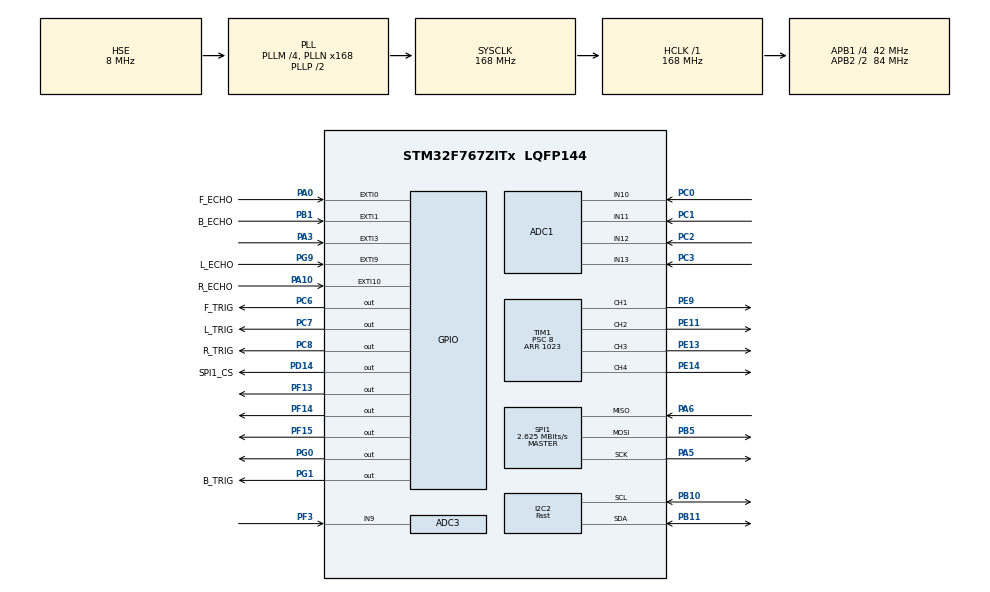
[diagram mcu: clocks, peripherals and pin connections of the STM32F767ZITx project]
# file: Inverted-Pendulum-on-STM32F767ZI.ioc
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ADC1.Channel-0\#ChannelRegularConversion=ADC_CHANNEL_10
ADC1.NbrOfConversionFlag=1
ADC1.Rank-0\#ChannelRegularConversion=1
ADC1.SamplingTime-0\#ChannelRegularConversion=ADC_SAMPLETIME_3CYCLES
ADC1.master=1
ADC3.Channel-0\#ChannelRegularConversion=ADC_CHANNEL_9
ADC3.ContinuousConvMode=DISABLE
ADC3.DMAContinuousRequests=DISABLE
ADC3.NbrOfConversion=1
ADC3.NbrOfConversionFlag=1
ADC3.Rank-0\#ChannelRegularConversion=1
ADC3.Resolution=ADC_RESOLUTION_12B
ADC3.SamplingTime-0\#ChannelRegularConversion=ADC_SAMPLETIME_3CYCLES
CORTEX_M7.default_mode_Activation=1
Dma.Request0=SPI1_TX
Dma.Request1=SPI1_RX
Dma.SPI1_RX.1.Direction=DMA_PERIPH_TO_MEMORY
Dma.SPI1_RX.1.FIFOMode=DMA_FIFOMODE_DISABLE
Dma.SPI1_RX.1.Instance=DMA2_Stream0
Dma.SPI1_RX.1.MemDataAlignment=DMA_MDATAALIGN_BYTE
Dma.SPI1_RX.1.MemInc=DMA_MINC_ENABLE
Dma.SPI1_RX.1.Mode=DMA_NORMAL
Dma.SPI1_RX.1.PeriphDataAlignment=DMA_PDATAALIGN_BYTE
Dma.SPI1_RX.1.PeriphInc=DMA_PINC_DISABLE
Dma.SPI1_RX.1.Priority=DMA_PRIORITY_MEDIUM
Dma.SPI1_TX.0.Direction=DMA_MEMORY_TO_PERIPH
Dma.SPI1_TX.0.FIFOMode=DMA_FIFOMODE_DISABLE
Dma.SPI1_TX.0.Instance=DMA2_Stream3
Dma.SPI1_TX.0.MemDataAlignment=DMA_MDATAALIGN_BYTE
Dma.SPI1_TX.0.MemInc=DMA_MINC_ENABLE
Dma.SPI1_TX.0.Mode=DMA_NORMAL
Dma.SPI1_TX.0.PeriphDataAlignment=DMA_PDATAALIGN_BYTE
Dma.SPI1_TX.0.PeriphInc=DMA_PINC_DISABLE
Dma.SPI1_TX.0.Priority=DMA_PRIORITY_MEDIUM
I2C2.I2C_Speed_Mode=I2C_Fast
I2C2.Timing=0x0040154A
Mcu.Family=STM32F7
Mcu.Name=STM32F767ZITx
Mcu.Package=LQFP144
NVIC.DMA2_Stream0_IRQn=true\:0\:0\:false\:false\:true\:false\:true\:true
NVIC.DMA2_Stream3_IRQn=true\:0\:0\:false\:false\:true\:false\:true\:true
NVIC.EXTI0_IRQn=true\:2\:0\:true\:false\:true\:true\:true\:true
NVIC.EXTI15_10_IRQn=true\:0\:0\:false\:false\:true\:true\:true\:true
NVIC.EXTI1_IRQn=true\:0\:0\:false\:false\:true\:true\:true\:true
NVIC.EXTI3_IRQn=true\:0\:0\:false\:false\:true\:true\:true\:true
NVIC.EXTI9_5_IRQn=true\:2\:0\:true\:false\:true\:true\:true\:true
NVIC.PriorityGroup=NVIC_PRIORITYGROUP_4
NVIC.SPI1_IRQn=true\:0\:0\:false\:false\:true\:true\:true\:true
PA0/WKUP.GPIO_Label=F_ECHO
PA0/WKUP.GPIO_ModeDefaultEXTI=GPIO_MODE_IT_RISING_FALLING
PA0/WKUP.GPIO_PuPd=GPIO_NOPULL
PA0/WKUP.Signal=GPXTI0
PA1.Signal=S_TIM5_CH2
PA10.GPIO_Label=R_ECHO
PA10.GPIO_ModeDefaultEXTI=GPIO_MODE_IT_RISING_FALLING
PA10.Signal=GPXTI10
PA13.GPIO_Label=TMS
PA13.Mode=Trace_Asynchronous_SW
PA13.Signal=SYS_JTMS-SWDIO
PA14.GPIO_Label=TCK
PA14.Mode=Trace_Asynchronous_SW
PA14.Signal=SYS_JTCK-SWCLK
PA3.GPIO_ModeDefaultEXTI=GPIO_MODE_IT_RISING_FALLING
PA3.Signal=GPXTI3
PA5.GPIO_Speed=GPIO_SPEED_FREQ_HIGH
PA5.Mode=Full_Duplex_Master
PA5.Signal=SPI1_SCK
PA6.GPIO_Speed=GPIO_SPEED_FREQ_HIGH
PA6.Mode=Full_Duplex_Master
PA6.Signal=SPI1_MISO
PB1.GPIO_Label=B_ECHO
PB1.GPIO_ModeDefaultEXTI=GPIO_MODE_IT_RISING_FALLING
PB1.Signal=GPXTI1
PB10.GPIO_Pu=GPIO_PULLUP
PB10.Mode=I2C
PB10.Signal=I2C2_SCL
PB11.GPIO_Pu=GPIO_PULLUP
PB11.Mode=I2C
PB11.Signal=I2C2_SDA
PB3.GPIO_Label=SWO
PB3.Mode=Trace_Asynchronous_SW
PB3.Signal=SYS_JTDO-SWO
PB5.GPIO_Speed=GPIO_SPEED_FREQ_HIGH
PB5.Mode=Full_Duplex_Master
PB5.Signal=SPI1_MOSI
PC0.Signal=ADCx_IN10
PC1.Signal=ADCx_IN11
PC14/OSC32_IN.Mode=LSE-External-Oscillator
PC14/OSC32_IN.Signal=RCC_OSC32_IN
PC15/OSC32_OUT.Mode=LSE-External-Oscillator
PC15/OSC32_OUT.Signal=RCC_OSC32_OUT
PC2.Signal=ADCx_IN12
PC3.Signal=ADCx_IN13
PC6.GPIO_Label=F_TRIG
PC6.GPIO_Speed=GPIO_SPEED_FREQ_HIGH
PC6.PinState=GPIO_PIN_RESET
PC6.Signal=GPIO_Output
PC7.GPIO_Label=L_TRIG
PC7.GPIO_Speed=GPIO_SPEED_FREQ_HIGH
PC7.PinState=GPIO_PIN_RESET
PC7.Signal=GPIO_Output
PC8.GPIO_Label=R_TRIG
PC8.GPIO_Speed=GPIO_SPEED_FREQ_HIGH
PC8.PinState=GPIO_PIN_RESET
PC8.Signal=GPIO_Output
PD14.GPIO_Label=SPI1_CS
PD14.GPIO_Speed=GPIO_SPEED_FREQ_HIGH
PD14.PinState=GPIO_PIN_SET
PD14.Signal=GPIO_Output
PE11.Signal=S_TIM1_CH2
PE13.Signal=S_TIM1_CH3
PE14.Signal=S_TIM1_CH4
PE9.Signal=S_TIM1_CH1
PF13.PinState=GPIO_PIN_SET
PF13.Signal=GPIO_Output
PF14.PinState=GPIO_PIN_SET
PF14.Signal=GPIO_Output
PF15.PinState=GPIO_PIN_SET
PF15.Signal=GPIO_Output
PF3.Mode=IN9
PF3.Signal=ADC3_IN9
PG0.PinState=GPIO_PIN_SET
PG0.Signal=GPIO_Output
PG1.GPIO_Label=B_TRIG
PG1.GPIO_Speed=GPIO_SPEED_FREQ_HIGH
PG1.Signal=GPIO_Output
PG9.GPIO_Label=L_ECHO
PG9.GPIO_ModeDefaultEXTI=GPIO_MODE_IT_RISING_FALLING
PG9.GPIO_PuPd=GPIO_NOPULL
PG9.Signal=GPXTI9
PH0/OSC_IN.GPIO_Label=MCO [STM32F103CBT6_PA8]
PH0/OSC_IN.Mode=HSE-External-Oscillator
PH0/OSC_IN.Signal=RCC_OSC_IN
PH1/OSC_OUT.Mode=HSE-External-Oscillator
PH1/OSC_OUT.Signal=RCC_OSC_OUT
ProjectManager.HeapSize=0x200
ProjectManager.StackSize=0x400
ProjectManager.TargetToolchain=STM32CubeIDE
RCC.48MHZClocksFreq_Value=24000000
RCC.AHBFreq_Value=168000000
RCC.APB1CLKDivider=RCC_HCLK_DIV4
RCC.APB1Freq_Value=42000000
RCC.APB1TimFreq_Value=84000000
RCC.APB2CLKDivider=RCC_HCLK_DIV2
RCC.APB2Freq_Value=84000000
RCC.APB2TimFreq_Value=168000000
RCC.CortexFreq_Value=168000000
RCC.HCLKFreq_Value=168000000
RCC.HSE_VALUE=8000000
RCC.HSI_VALUE=16000000
RCC.PLLM=4
RCC.PLLMUL=RCC_PLL_MUL9
RCC.PLLN=168
RCC.PLLQ=7
RCC.PLLSourceVirtual=RCC_PLLSOURCE_HSE
RCC.PRESCALERUSB=RCC_USBCLKSOURCE_PLL_DIV1_5
RCC.SYSCLKFreq_VALUE=168000000
RCC.SYSCLKSource=RCC_SYSCLKSOURCE_PLLCLK
RCC.SYSCLKSourceVirtual=RCC_SYSCLKSOURCE_PLLCLK
RCC.USBFreq_Value=48000000
RCC.VCOOutputFreq_Value=336000000
SH.ADCx_IN10.0=ADC1_IN10,IN10
SH.ADCx_IN11.0=ADC1_IN11,IN11
SH.ADCx_IN12.0=ADC1_IN12,IN12
SH.ADCx_IN13.0=ADC1_IN13,IN13
SH.S_TIM1_CH1.0=TIM1_CH1,PWM Generation1 CH1
SH.S_TIM1_CH2.0=TIM1_CH2,PWM Generation2 CH2
SH.S_TIM1_CH3.0=TIM1_CH3,PWM Generation3 CH3
SH.S_TIM1_CH4.0=TIM1_CH4,PWM Generation4 CH4
SH.S_TIM5_CH2.0=TIM5_CH2
SPI1.BaudRatePrescaler=SPI_BAUDRATEPRESCALER_32
SPI1.CalculateBaudRate=2.625 MBits/s
SPI1.DataSize=SPI_DATASIZE_8BIT
SPI1.Direction=SPI_DIRECTION_2LINES
SPI1.Mode=SPI_MODE_MASTER
SPI1.NSSPMode=SPI_NSS_PULSE_DISABLE
SPI1.VirtualType=VM_MASTER
TIM1.AutoReloadPreload=TIM_AUTORELOAD_PRELOAD_ENABLE
TIM1.Channel-PWM\ Generation1\ CH1=TIM_CHANNEL_1
TIM1.Channel-PWM\ Generation2\ CH2=TIM_CHANNEL_2
TIM1.Channel-PWM\ Generation3\ CH3=TIM_CHANNEL_3
TIM1.Channel-PWM\ Generation4\ CH4=TIM_CHANNEL_4
TIM1.Period=1023
TIM1.Prescaler=8
TIM14.AutoReloadPreload=TIM_AUTORELOAD_PRELOAD_ENABLE
TIM14.Period=60000-1
TIM14.Prescaler=83
TIM5.AutoReloadPreload=TIM_AUTORELOAD_PRELOAD_ENABLE
TIM5.Prescaler=83
VP_TIM14_VS_ClockSourceINT.Mode=Enable_Timer
VP_TIM1_VS_ClockSourceINT.Mode=Internal
VP_TIM5_VS_ClockSourceINT.Mode=Internal
board=NUCLEO-F767ZI

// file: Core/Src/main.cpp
/* USER CODE BEGIN Header */

/**

 ******************************************************************************

 * @file : main.c

 * @brief : Main program body

 ******************************************************************************

 * @attention

 *

 * Copyright (c) 2026 STMicroelectronics.

 * All rights reserved.

 *

 * This software is licensed under terms that can be found in the LICENSE file

 * in the root directory of this software component.

 * If no LICENSE file comes with this software, it is provided AS-IS.

 *

 ******************************************************************************

 */

/* USER CODE END Header */

#include "main.h"

/* USER CODE BEGIN Includes */

#include "peripherals.h"

#include <stdio.h>

#include "flash_storage.h"

#include <math.h>

#include "string.h"

#include "navigation.h"

/* USER CODE END Includes */

/* USER CODE BEGIN PD */

#define MAX_SPEED 1024 // max PWM

#define MIN_SPEED 0 // min PWM

#define PWM_DEADZONE 68 // PWM floor to break motor static friction

#define LOG_FLAG false // toggle debug logging

#if LOG_FLAG

// data logger, view in debugger expressions

#define LOG_SIZE 5000 // 5000 samples at 500Hz = 10s

#endif

/* USER CODE END PD */

ADC_HandleTypeDef hadc1;

ADC_HandleTypeDef hadc3;

I2C_HandleTypeDef hi2c2;

SPI_HandleTypeDef hspi1;

DMA_HandleTypeDef hdma_spi1_tx;

DMA_HandleTypeDef hdma_spi1_rx;

TIM_HandleTypeDef htim1;

TIM_HandleTypeDef htim5;

TIM_HandleTypeDef htim14;

/* USER CODE BEGIN PV */

static const float PI_OVER_180 = 3.14159265f / 180.0f;

static const float RAD_TO_DEG = 180.0f / 3.14159265f;

static const float PWM_SCALE = 200.0f;

#if LOG_FLAG

// data logger buffers

volatile float log_theta[LOG_SIZE];

volatile float log_effort[LOG_SIZE];

volatile uint16_t log_idx = 0;

volatile uint8_t log_done = 0; // set when robot has fallen and data is ready

#endif

volatile uint16_t adc_raw[1];

Potentiometer pot = {

 .dma_buffer = (uint16_t*)adc_raw,

 .center_value = 2048,

 .raw = 0,

 .deg_per_count = 270.0f / 4095.0f,

 .current_angle = 0.0f,

 .velocity = 0.0f

};

// Ultrasonic Sensors (PCB Pin Configurations)

Ultrasonic frontSensor = {

	.TriggerPort = F_TRIG_GPIO_Port, // PC6

	.EchoPort =	F_ECHO_GPIO_Port, // PA0

	.TriggerPin = F_TRIG_Pin,

	.EchoPin =	F_ECHO_Pin,

	.timer = &htim5

};

Ultrasonic backSensor = {

	.TriggerPort = B_TRIG_GPIO_Port, // PG1

	.EchoPort =	B_ECHO_GPIO_Port, // PB1

	.TriggerPin = B_TRIG_Pin,

	.EchoPin =	B_ECHO_Pin,

	.timer = &htim5

};

Ultrasonic leftSensor = {

	.TriggerPort = L_TRIG_GPIO_Port, // PC7

	.EchoPort =	L_ECHO_GPIO_Port, // PG9

	.TriggerPin = L_TRIG_Pin,

	.EchoPin =	L_ECHO_Pin,

	.timer = &htim5

};

Ultrasonic rightSensor = {

	.TriggerPort = R_TRIG_GPIO_Port, // PC8

	.EchoPort =	R_ECHO_GPIO_Port, // PA10

	.TriggerPin = R_TRIG_Pin,

	.EchoPin =	R_ECHO_Pin,

	.timer = &htim5

};

// motors, diagonal mapping

Motor FRM = { .PWM = &TIM1->CCR1, .directionPort = GPIOF, .directionPin = GPIO_PIN_13 };

Motor FLM = { .PWM = &TIM1->CCR2, .directionPort = GPIOF, .directionPin = GPIO_PIN_14 };

Motor BRM = { .PWM = &TIM1->CCR3, .directionPort = GPIOF, .directionPin = GPIO_PIN_15 };

Motor BLM = { .PWM = &TIM1->CCR4, .directionPort = GPIOG, .directionPin = GPIO_PIN_0 };

static TelemetryPacket tx_packet;

static CommandPacket rx_packet;

static uint8_t spi_rx_raw_buffer[sizeof(TelemetryPacket)];

static volatile uint8_t spi_in_progress = 0;

volatile uint8_t system_state = 0;

volatile float theta_offset = 0.0f; // live trim from ESP32 F/B buttons

// live expression globals for debugger

volatile uint32_t g_avg_center = 0; // averaged pot center, set once after calibration

volatile uint32_t g_heartbeat = 0; // ticks so we know MCU is alive

volatile uint32_t g_pot_live = 0; // current raw pot reading

// SPI diagnostics

volatile uint32_t g_spi_tx_attempts = 0;

volatile uint32_t g_spi_rx_complete = 0;

volatile uint32_t g_spi_recoveries = 0;

volatile uint8_t g_last_cmd = 0;

volatile uint8_t current_robot_mode = 1; // 1=balance only, 2=nav with rod, 3=drive only

volatile float tune_kp = 45.0f;

volatile float tune_ki = 0.0f;

volatile float tune_kd = 0.0f;

static uint16_t prev_encoder_count = 0;

Nav my_nav;

IMU my_imu;

uint32_t sensor_timer = 0;

/* USER CODE END PV */

void SystemClock_Config(void);

static void MPU_Config(void);

static void MX_GPIO_Init(void);

static void MX_DMA_Init(void);

static void MX_I2C2_Init(void);

static void MX_TIM1_Init(void);

static void MX_ADC3_Init(void);

static void MX_SPI1_Init(void);

static void MX_TIM5_Init(void);

static void MX_TIM14_Init(void);

static void MX_ADC1_Init(void);

/* USER CODE BEGIN PFP */

int _write(int32_t file, uint8_t *ptr, int32_t len); // printf to SWV console, don't delete

static void SPI1_Recover(void);

/* USER CODE END PFP */

/* USER CODE BEGIN 0 */

static void SPI1_Recover(void) {

 g_spi_recoveries++;

 HAL_SPI_DeInit(&hspi1);

 HAL_Delay(2);

 MX_SPI1_Init();

 HAL_GPIO_WritePin(SPI1_CS_GPIO_Port, SPI1_CS_Pin, GPIO_PIN_SET);

}

uint16_t Read_AS5600(I2C_HandleTypeDef* hi2c) {

 uint8_t rx_data[2];

 const uint8_t AS5600_ADDR = 0x36 << 1;

 const uint8_t RAW_ANGLE_REG = 0x0C;

 HAL_StatusTypeDef status = HAL_I2C_Mem_Read(hi2c, AS5600_ADDR, RAW_ANGLE_REG, I2C_MEMADD_SIZE_8BIT, rx_data, 2, 5);

 if (status == HAL_OK) {

 return (uint16_t)((rx_data[0] << 8) | rx_data[1]);

 }

 return 0;

}

uint16_t Read_ADC_Channel(ADC_HandleTypeDef* hadc, uint32_t channel) {

 ADC_ChannelConfTypeDef sConfig = {0};

 sConfig.Channel = channel;

 sConfig.Rank = ADC_REGULAR_RANK_1;

 sConfig.SamplingTime = ADC_SAMPLETIME_3CYCLES;

 HAL_ADC_ConfigChannel(hadc, &sConfig);

 HAL_ADC_Start(hadc);

 HAL_ADC_PollForConversion(hadc, 5);

 uint16_t value = HAL_ADC_GetValue(hadc);

 HAL_ADC_Stop(hadc);

 return value;

}

float get_median(volatile float *array, uint8_t size) {

 float temp[10]; // max buffer size

 for (uint8_t i = 0; i < size; i++) {

 temp[i] = array[i];

 }

 // insertion sort

 for (uint8_t i = 1; i < size; i++) {

 float key = temp[i];

 int8_t j = i - 1;

 while (j >= 0 && temp[j] > key) {

 temp[j + 1] = temp[j];

 j = j - 1;

 }

 temp[j + 1] = key;

 }

 return temp[size / 2];

}

/* USER CODE END 0 */

int main(void)

{

 /* USER CODE BEGIN 1 */

	float target_angle = 0.0f;

	static float theta;

	float balance_error;

	float motor_effort;

	int final_speed;

	GPIO_PinState drive_dir;

	static uint32_t prev_time;

	float dt;

	static float filtered_gyro;

	float theta_dot;

	float pitch_accel;

	static float balance_integral;

 /* USER CODE END 1 */

 /* MPU Configuration--------------------------------------------------------*/

 MPU_Config();

 /* MCU Configuration--------------------------------------------------------*/

 /* Reset of all peripherals, Initializes the Flash interface and the Systick. */

 HAL_Init();

 /* Configure the system clock */

 SystemClock_Config();

 /* Initialize all configured peripherals */

 MX_GPIO_Init();

 MX_DMA_Init();

 MX_I2C2_Init();

 MX_TIM1_Init();

 MX_ADC3_Init();

 MX_SPI1_Init();

 MX_TIM5_Init();

 MX_TIM14_Init();

 MX_ADC1_Init();

 /* USER CODE BEGIN 2 */

	// unbuffered stdout so printf hits SWV ITM right away

	setvbuf(stdout, NULL, _IONBF, 0);

	// start timers

 HAL_TIM_Base_Start_IT(&htim14);

 HAL_TIM_Base_Start(&htim5);

 HAL_TIM_PWM_Start(&htim1, TIM_CHANNEL_1);

 HAL_TIM_PWM_Start(&htim1, TIM_CHANNEL_2);

 HAL_TIM_PWM_Start(&htim1, TIM_CHANNEL_3);

 HAL_TIM_PWM_Start(&htim1, TIM_CHANNEL_4);

	// pot center calibration

#if true

 {

 const int N_SAMPLES = 200;

 uint32_t acc = 0;

 for (int i = 0; i < N_SAMPLES; i++) {

 HAL_ADC_Start(&hadc3);

 if (HAL_ADC_PollForConversion(&hadc3, 10) == HAL_OK) {

 uint32_t sample = HAL_ADC_GetValue(&hadc3);

 acc += sample;

 g_pot_live = sample;

 }

 g_heartbeat++;

 HAL_Delay(10);

 }

 pot.center_value = acc / N_SAMPLES;

 g_avg_center = pot.center_value;

 }

#endif

 const float POT_RAD_PER_COUNT = (270.0f * 3.14159265f / 180.0f) / 4095.0f;

 theta = 0.0f;

 const uint32_t LOOP_PERIOD_US = 1000; // 1ms loop, 1kHz

 Nav_Init(&my_nav);

 IMU_Init(&my_imu, &hi2c2); // keep robot still here

 // ESP32 telemetry

 uint32_t telemetry_counter = 0;

 uint8_t spi_fail_count = 0;

 memset(&tx_packet, 0, sizeof(tx_packet));

 memset(&rx_packet, 0, sizeof(rx_packet));

 static float pid_ITerm = 0.0f;

 static float pid_lastInput = 0.0f;

 system_state = 0; // start disarmed

 /* USER CODE END 2 */

 /* Infinite loop */

	while (1)
	{

 /* USER CODE BEGIN 3 */

#if true

	uint32_t loop_start = __HAL_TIM_GET_COUNTER(&htim5);

	HAL_ADC_Start(&hadc3);

	if (HAL_ADC_PollForConversion(&hadc3, 1) == HAL_OK) {

	pot.raw = (uint16_t)HAL_ADC_GetValue(&hadc3);

	g_pot_live = pot.raw;

	}

	HAL_ADC_Stop(&hadc3);

	// real dt from the hardware timer

	dt = (prev_time == 0) ? 0.002f : (float)(loop_start - prev_time) * 1e-6f;

	if (dt > 0.02f || dt < 0.0005f) dt = 0.002f;

	prev_time = loop_start;

 // odometry from the four wheel pots

	static uint16_t prev_fl = 0, prev_fr = 0, prev_bl = 0, prev_br = 0;

	uint16_t raw_fl = Read_ADC_Channel(&hadc1, ADC_CHANNEL_10);

	uint16_t raw_fr = Read_ADC_Channel(&hadc1, ADC_CHANNEL_11);

	uint16_t raw_bl = Read_ADC_Channel(&hadc1, ADC_CHANNEL_12);

	uint16_t raw_br = Read_ADC_Channel(&hadc1, ADC_CHANNEL_13);

	// handle 360 deg wrap

	int32_t d_fl = raw_fl - prev_fl; if (d_fl > 2048) d_fl -= 4096; else if (d_fl < -2048) d_fl += 4096;

	int32_t d_fr = raw_fr - prev_fr; if (d_fr > 2048) d_fr -= 4096; else if (d_fr < -2048) d_fr += 4096;

	int32_t d_bl = raw_bl - prev_bl; if (d_bl > 2048) d_bl -= 4096; else if (d_bl < -2048) d_bl += 4096;

	int32_t d_br = raw_br - prev_br; if (d_br > 2048) d_br -= 4096; else if (d_br < -2048) d_br += 4096;

	prev_fl = raw_fl; prev_fr = raw_fr; prev_bl = raw_bl; prev_br = raw_br;

	float theta_raw = (((float)pot.raw - (float)pot.center_value) * POT_RAD_PER_COUNT) + theta_offset;

	theta = theta_raw;

	// derivative on measurement, low-pass filtered

	#define THETA_DOT_ALPHA 0.15f // lower = more filtering

	{

	static float prev_theta_for_dot = 0.0f;

	static float theta_dot_filt = 0.0f;

	float theta_dot_raw = (theta - prev_theta_for_dot) / dt;

	prev_theta_for_dot = theta;

	theta_dot_filt = (THETA_DOT_ALPHA * theta_dot_raw) + ((1.0f - THETA_DOT_ALPHA) * theta_dot_filt);

	theta_dot = theta_dot_filt;

	}

	// PID control

	// 2-sample sliding window on the integral so it can't wind up

	{

	static float prev_theta_dt = 0.0f;

	float cur_theta_dt = theta * dt;

	balance_integral = cur_theta_dt + prev_theta_dt;

	prev_theta_dt = cur_theta_dt;

	}

	motor_effort = (90.0f * theta) // kp

	+ (1.5f * theta_dot) // kd

	+ (64.0f * balance_integral); // ki

	// kill motors if we fall past 25 deg

	if (fabsf(theta) > (25.0f * PI_OVER_180)) {

	system_state = 0;

	}

	// round-robin ultrasonic trigger

	sensor_timer++;

	// front + back pair

	if (sensor_timer == 1) {

	HAL_GPIO_WritePin(frontSensor.TriggerPort, frontSensor.TriggerPin, GPIO_PIN_SET);

	HAL_GPIO_WritePin(backSensor.TriggerPort, backSensor.TriggerPin, GPIO_PIN_SET);

	} else if (sensor_timer == 2) {

	HAL_GPIO_WritePin(frontSensor.TriggerPort, frontSensor.TriggerPin, GPIO_PIN_RESET);

	HAL_GPIO_WritePin(backSensor.TriggerPort, backSensor.TriggerPin, GPIO_PIN_RESET);

	}

	// left + right pair

	else if (sensor_timer == 21) {

	HAL_GPIO_WritePin(leftSensor.TriggerPort, leftSensor.TriggerPin, GPIO_PIN_SET);

	HAL_GPIO_WritePin(rightSensor.TriggerPort, rightSensor.TriggerPin, GPIO_PIN_SET);

	} else if (sensor_timer == 22) {

	HAL_GPIO_WritePin(leftSensor.TriggerPort, leftSensor.TriggerPin, GPIO_PIN_RESET);

	HAL_GPIO_WritePin(rightSensor.TriggerPort, rightSensor.TriggerPin, GPIO_PIN_RESET);

	}

	// restart every 40ms

	else if (sensor_timer >= 40) {

	sensor_timer = 0;

	}

	// navigation + turning

	float turn_effort = 0.0f;

	if (current_robot_mode > 0) {

	Nav_UpdateStrategy(&my_nav, frontSensor.distance, leftSensor.distance, rightSensor.distance, current_robot_mode);

	Read_Gyro(&my_imu, &hi2c2);

	float current_gyro_z = my_imu.gyro.dps_z - my_imu.gyro.bias_z;

	turn_effort = Nav_UpdateSteering(&my_nav, current_gyro_z, dt);

	}

	// mode state machine

	float final_motor_effort = 0.0f;

	float final_turn_effort = 0.0f;

	switch (current_robot_mode) {

	case 1: // balance only

	final_motor_effort = motor_effort;

	final_turn_effort = 0.0f;

	break;

	case 2: // full nav with rod

	final_motor_effort = motor_effort;

	final_turn_effort = turn_effort;

	break;

	case 3: // drive only, no rod

	final_motor_effort = my_nav.target_forward_effort;

	final_turn_effort = turn_effort;

	balance_integral = 0.0f;

	break;

	}

	// differential drive mix

	float final_l_effort = final_motor_effort - final_turn_effort;

	float final_r_effort = final_motor_effort + final_turn_effort;

	// deadzone compensation per track

	float abs_eff_l = fabsf(final_l_effort);

	float abs_eff_r = fabsf(final_r_effort);

	int left_speed = 0, right_speed = 0;

	if (abs_eff_l >= 0.003f) {

	left_speed = (int)(abs_eff_l * PWM_SCALE) + PWM_DEADZONE;

	}

	if (abs_eff_r >= 0.003f) {

	right_speed = (int)(abs_eff_r * PWM_SCALE) + PWM_DEADZONE;

	}

	if (left_speed > MAX_SPEED) left_speed = MAX_SPEED;

	if (right_speed > MAX_SPEED) right_speed = MAX_SPEED;

	// zero PWM on disarm so ESP32 sees a clean cutoff in telemetry

	if (system_state != 1) {

	left_speed = 0;

	right_speed = 0;

	}

	GPIO_PinState left_dir = (final_l_effort > 0) ? GPIO_PIN_RESET : GPIO_PIN_SET;

	GPIO_PinState right_dir = (final_r_effort > 0) ? GPIO_PIN_RESET : GPIO_PIN_SET;

	// pack telemetry

	tx_packet.pwm_fl = (float)(left_dir == GPIO_PIN_RESET ? left_speed : -left_speed);

	tx_packet.pwm_bl = tx_packet.pwm_fl;

	tx_packet.pwm_fr = (float)(right_dir == GPIO_PIN_RESET ? right_speed : -right_speed);

	tx_packet.pwm_br = tx_packet.pwm_fr;

	tx_packet.raw_pot = (float)pot.raw;

	// pot resistance from raw reading (10k pot)

	const float R_TOTAL = 10000.0f;

	tx_packet.pot_ohms = R_TOTAL * ((float)pot.raw / 4095.0f);

	// e-stop gate

	if (system_state == 1) {

	setSpeed(&FLM, left_speed, left_dir);

	setSpeed(&FRM, right_speed, right_dir);

	setSpeed(&BLM, left_speed, left_dir);

	setSpeed(&BRM, right_speed, right_dir);

	} else {

	setSpeed(&FLM, 0, GPIO_PIN_RESET);

	setSpeed(&FRM, 0, GPIO_PIN_RESET);

	setSpeed(&BLM, 0, GPIO_PIN_RESET);

	setSpeed(&BRM, 0, GPIO_PIN_RESET);

	balance_integral = 0.0f;

	}

	// ESP32 telemetry at 50Hz (every 20 control loops)

	if (++telemetry_counter >= 20) {

 telemetry_counter = 0;

 if (spi_in_progress == 0) {

 spi_fail_count = 0;

 tx_packet.pitch_raw = theta_raw * RAD_TO_DEG;

 tx_packet.pitch_filtered = theta * RAD_TO_DEG;

 tx_packet.angular_velocity = theta_dot * RAD_TO_DEG;

 tx_packet.angular_velocity = theta_dot;

 tx_packet.dist_front = frontSensor.distance;

 tx_packet.dist_back = backSensor.distance;

	tx_packet.dist_left = leftSensor.distance;

	tx_packet.dist_right = rightSensor.distance;

	tx_packet.system_state = system_state;

	uint32_t work_time_us = __HAL_TIM_GET_COUNTER(&htim5) - loop_start;

	tx_packet.cpu_load = ((float)work_time_us / 1000.0f) * 100.0f;

	memset(spi_rx_raw_buffer, 0, sizeof(spi_rx_raw_buffer));

 spi_in_progress = 1;

 HAL_GPIO_WritePin(SPI1_CS_GPIO_Port, SPI1_CS_Pin, GPIO_PIN_RESET);

 for (volatile int i = 0; i < 300; i++); // ESP32 sync delay

 g_spi_tx_attempts++;

 HAL_SPI_TransmitReceive_DMA(&hspi1,

 (uint8_t *)&tx_packet,

	spi_rx_raw_buffer,

 sizeof(TelemetryPacket));

 } else {

 if (++spi_fail_count >= 5) {

 SPI1_Recover();

 spi_in_progress = 0;

 spi_fail_count = 0;

 }

 }

	}

	while ((__HAL_TIM_GET_COUNTER(&htim5) - loop_start) < LOOP_PERIOD_US);

#endif

	}

 /* USER CODE END 3 */

}

void SystemClock_Config(void)

{

 RCC_OscInitTypeDef RCC_OscInitStruct = {0};

 RCC_ClkInitTypeDef RCC_ClkInitStruct = {0};

 /** Configure LSE Drive Capability

 */

 HAL_PWR_EnableBkUpAccess();

 /** Configure the main internal regulator output voltage

 */

 __HAL_RCC_PWR_CLK_ENABLE();

 __HAL_PWR_VOLTAGESCALING_CONFIG(PWR_REGULATOR_VOLTAGE_SCALE2);

 /** Initializes the RCC Oscillators according to the specified parameters

 * in the RCC_OscInitTypeDef structure.

 */

 RCC_OscInitStruct.OscillatorType = RCC_OSCILLATORTYPE_HSE;

 RCC_OscInitStruct.HSEState = RCC_HSE_ON;

 RCC_OscInitStruct.PLL.PLLState = RCC_PLL_ON;

 RCC_OscInitStruct.PLL.PLLSource = RCC_PLLSOURCE_HSE;

 RCC_OscInitStruct.PLL.PLLM = 4;

 RCC_OscInitStruct.PLL.PLLN = 168;

 RCC_OscInitStruct.PLL.PLLP = RCC_PLLP_DIV2;

 RCC_OscInitStruct.PLL.PLLQ = 7;

 RCC_OscInitStruct.PLL.PLLR = 2;

 if (HAL_RCC_OscConfig(&RCC_OscInitStruct) != HAL_OK)

 {

 Error_Handler();

 }

 /** Initializes the CPU, AHB and APB buses clocks

 */

 RCC_ClkInitStruct.ClockType = RCC_CLOCKTYPE_HCLK|RCC_CLOCKTYPE_SYSCLK

 |RCC_CLOCKTYPE_PCLK1|RCC_CLOCKTYPE_PCLK2;

 RCC_ClkInitStruct.SYSCLKSource = RCC_SYSCLKSOURCE_PLLCLK;

 RCC_ClkInitStruct.AHBCLKDivider = RCC_SYSCLK_DIV1;

 RCC_ClkInitStruct.APB1CLKDivider = RCC_HCLK_DIV4;

 RCC_ClkInitStruct.APB2CLKDivider = RCC_HCLK_DIV2;

 if (HAL_RCC_ClockConfig(&RCC_ClkInitStruct, FLASH_LATENCY_5) != HAL_OK)

 {

 Error_Handler();

 }

}

static void MX_ADC1_Init(void)

{

 ADC_ChannelConfTypeDef sConfig = {0};

 /** Configure the global features of the ADC (Clock, Resolution, Data Alignment and number of conversion)

 */

 hadc1.Instance = ADC1;

 hadc1.Init.ClockPrescaler = ADC_CLOCK_SYNC_PCLK_DIV4;

 hadc1.Init.Resolution = ADC_RESOLUTION_12B;

 hadc1.Init.ScanConvMode = ADC_SCAN_DISABLE;

 hadc1.Init.ContinuousConvMode = DISABLE;

 hadc1.Init.DiscontinuousConvMode = DISABLE;

 hadc1.Init.ExternalTrigConvEdge = ADC_EXTERNALTRIGCONVEDGE_NONE;

 hadc1.Init.ExternalTrigConv = ADC_SOFTWARE_START;

 hadc1.Init.DataAlign = ADC_DATAALIGN_RIGHT;

 hadc1.Init.NbrOfConversion = 1;

 hadc1.Init.DMAContinuousRequests = DISABLE;

 hadc1.Init.EOCSelection = ADC_EOC_SINGLE_CONV;

 if (HAL_ADC_Init(&hadc1) != HAL_OK)

 {

 Error_Handler();

 }

 /** Configure for the selected ADC regular channel its corresponding rank in the sequencer and its sample time.

 */

 sConfig.Channel = ADC_CHANNEL_10;

 sConfig.Rank = ADC_REGULAR_RANK_1;

 sConfig.SamplingTime = ADC_SAMPLETIME_3CYCLES;

 if (HAL_ADC_ConfigChannel(&hadc1, &sConfig) != HAL_OK)

 {

 Error_Handler();

 }

}

static void MX_ADC3_Init(void)

{

 ADC_ChannelConfTypeDef sConfig = {0};

 /** Configure the global features of the ADC (Clock, Resolution, Data Alignment and number of conversion)

 */

 hadc3.Instance = ADC3;

 hadc3.Init.ClockPrescaler = ADC_CLOCK_SYNC_PCLK_DIV4;

 hadc3.Init.Resolution = ADC_RESOLUTION_12B;

 hadc3.Init.ScanConvMode = ADC_SCAN_DISABLE;

 hadc3.Init.ContinuousConvMode = DISABLE;

 hadc3.Init.DiscontinuousConvMode = DISABLE;

 hadc3.Init.ExternalTrigConvEdge = ADC_EXTERNALTRIGCONVEDGE_NONE;

 hadc3.Init.ExternalTrigConv = ADC_SOFTWARE_START;

 hadc3.Init.DataAlign = ADC_DATAALIGN_RIGHT;

 hadc3.Init.NbrOfConversion = 1;

 hadc3.Init.DMAContinuousRequests = DISABLE;

 hadc3.Init.EOCSelection = ADC_EOC_SINGLE_CONV;

 if (HAL_ADC_Init(&hadc3) != HAL_OK)

 {

 Error_Handler();

 }

 /** Configure for the selected ADC regular channel its corresponding rank in the sequencer and its sample time.

 */

 sConfig.Channel = ADC_CHANNEL_9;

 sConfig.Rank = ADC_REGULAR_RANK_1;

 sConfig.SamplingTime = ADC_SAMPLETIME_3CYCLES;

 if (HAL_ADC_ConfigChannel(&hadc3, &sConfig) != HAL_OK)

 {

 Error_Handler();

 }

}

static void MX_I2C2_Init(void)

{

 hi2c2.Instance = I2C2;

 hi2c2.Init.Timing = 0x0040154A;

 hi2c2.Init.OwnAddress1 = 0;

 hi2c2.Init.AddressingMode = I2C_ADDRESSINGMODE_7BIT;

 hi2c2.Init.DualAddressMode = I2C_DUALADDRESS_DISABLE;

 hi2c2.Init.OwnAddress2 = 0;

 hi2c2.Init.OwnAddress2Masks = I2C_OA2_NOMASK;

 hi2c2.Init.GeneralCallMode = I2C_GENERALCALL_DISABLE;

 hi2c2.Init.NoStretchMode = I2C_NOSTRETCH_DISABLE;

 if (HAL_I2C_Init(&hi2c2) != HAL_OK)

 {

 Error_Handler();

 }

 /** Configure Analogue filter

 */

 if (HAL_I2CEx_ConfigAnalogFilter(&hi2c2, I2C_ANALOGFILTER_ENABLE) != HAL_OK)

 {

 Error_Handler();

 }

 /** Configure Digital filter

 */

 if (HAL_I2CEx_ConfigDigitalFilter(&hi2c2, 0) != HAL_OK)

 {

 Error_Handler();

 }

}

static void MX_SPI1_Init(void)

{

 /* SPI1 parameter configuration*/

 hspi1.Instance = SPI1;

 hspi1.Init.Mode = SPI_MODE_MASTER;

 hspi1.Init.Direction = SPI_DIRECTION_2LINES;

 hspi1.Init.DataSize = SPI_DATASIZE_8BIT;

 hspi1.Init.CLKPolarity = SPI_POLARITY_LOW;

 hspi1.Init.CLKPhase = SPI_PHASE_1EDGE;

 hspi1.Init.NSS = SPI_NSS_SOFT;

 hspi1.Init.BaudRatePrescaler = SPI_BAUDRATEPRESCALER_32;

 hspi1.Init.FirstBit = SPI_FIRSTBIT_MSB;

 hspi1.Init.TIMode = SPI_TIMODE_DISABLE;

 hspi1.Init.CRCCalculation = SPI_CRCCALCULATION_DISABLE;

 hspi1.Init.CRCPolynomial = 7;

 hspi1.Init.CRCLength = SPI_CRC_LENGTH_DATASIZE;

 hspi1.Init.NSSPMode = SPI_NSS_PULSE_DISABLE;

 if (HAL_SPI_Init(&hspi1) != HAL_OK)

 {

 Error_Handler();

 }

}

static void MX_TIM1_Init(void)

{

 TIM_ClockConfigTypeDef sClockSourceConfig = {0};

 TIM_MasterConfigTypeDef sMasterConfig = {0};

 TIM_OC_InitTypeDef sConfigOC = {0};

 TIM_BreakDeadTimeConfigTypeDef sBreakDeadTimeConfig = {0};

 htim1.Instance = TIM1;

 htim1.Init.Prescaler = 8;

 htim1.Init.CounterMode = TIM_COUNTERMODE_UP;

 htim1.Init.Period = 1023;

 htim1.Init.ClockDivision = TIM_CLOCKDIVISION_DIV1;

 htim1.Init.RepetitionCounter = 0;

 htim1.Init.AutoReloadPreload = TIM_AUTORELOAD_PRELOAD_ENABLE;

 if (HAL_TIM_Base_Init(&htim1) != HAL_OK)

 {

 Error_Handler();

 }

 sClockSourceConfig.ClockSource = TIM_CLOCKSOURCE_INTERNAL;

 if (HAL_TIM_ConfigClockSource(&htim1, &sClockSourceConfig) != HAL_OK)

 {

 Error_Handler();

 }

 if (HAL_TIM_PWM_Init(&htim1) != HAL_OK)

 {

 Error_Handler();

 }

 sMasterConfig.MasterOutputTrigger = TIM_TRGO_RESET;

 sMasterConfig.MasterOutputTrigger2 = TIM_TRGO2_RESET;

 sMasterConfig.MasterSlaveMode = TIM_MASTERSLAVEMODE_DISABLE;

 if (HAL_TIMEx_MasterConfigSynchronization(&htim1, &sMasterConfig) != HAL_OK)

 {

 Error_Handler();

 }

 sConfigOC.OCMode = TIM_OCMODE_PWM1;

 sConfigOC.Pulse = 0;

 sConfigOC.OCPolarity = TIM_OCPOLARITY_HIGH;

 sConfigOC.OCNPolarity = TIM_OCNPOLARITY_HIGH;

 sConfigOC.OCFastMode = TIM_OCFAST_DISABLE;

 sConfigOC.OCIdleState = TIM_OCIDLESTATE_RESET;

 sConfigOC.OCNIdleState = TIM_OCNIDLESTATE_RESET;

 if (HAL_TIM_PWM_ConfigChannel(&htim1, &sConfigOC, TIM_CHANNEL_1) != HAL_OK)

 {

 Error_Handler();

 }

 if (HAL_TIM_PWM_ConfigChannel(&htim1, &sConfigOC, TIM_CHANNEL_2) != HAL_OK)

 {

 Error_Handler();

 }

 if (HAL_TIM_PWM_ConfigChannel(&htim1, &sConfigOC, TIM_CHANNEL_3) != HAL_OK)

 {

 Error_Handler();

 }

 if (HAL_TIM_PWM_ConfigChannel(&htim1, &sConfigOC, TIM_CHANNEL_4) != HAL_OK)

 {

 Error_Handler();

 }

 sBreakDeadTimeConfig.OffStateRunMode = TIM_OSSR_DISABLE;

 sBreakDeadTimeConfig.OffStateIDLEMode = TIM_OSSI_DISABLE;

 sBreakDeadTimeConfig.LockLevel = TIM_LOCKLEVEL_OFF;

 sBreakDeadTimeConfig.DeadTime = 0;

 sBreakDeadTimeConfig.BreakState = TIM_BREAK_DISABLE;

 sBreakDeadTimeConfig.BreakPolarity = TIM_BREAKPOLARITY_HIGH;

 sBreakDeadTimeConfig.BreakFilter = 0;

 sBreakDeadTimeConfig.Break2State = TIM_BREAK2_DISABLE;

 sBreakDeadTimeConfig.Break2Polarity = TIM_BREAK2POLARITY_HIGH;

 sBreakDeadTimeConfig.Break2Filter = 0;

 sBreakDeadTimeConfig.AutomaticOutput = TIM_AUTOMATICOUTPUT_DISABLE;

 if (HAL_TIMEx_ConfigBreakDeadTime(&htim1, &sBreakDeadTimeConfig) != HAL_OK)

 {

 Error_Handler();

 }

 HAL_TIM_MspPostInit(&htim1);

}

static void MX_TIM5_Init(void)

{

 TIM_ClockConfigTypeDef sClockSourceConfig = {0};

 TIM_MasterConfigTypeDef sMasterConfig = {0};

 htim5.Instance = TIM5;

 htim5.Init.Prescaler = 83;

 htim5.Init.CounterMode = TIM_COUNTERMODE_UP;

 htim5.Init.Period = 4294967295;

 htim5.Init.ClockDivision = TIM_CLOCKDIVISION_DIV1;

 htim5.Init.AutoReloadPreload = TIM_AUTORELOAD_PRELOAD_ENABLE;

 if (HAL_TIM_Base_Init(&htim5) != HAL_OK)

 {

 Error_Handler();

 }

 sClockSourceConfig.ClockSource = TIM_CLOCKSOURCE_INTERNAL;

 if (HAL_TIM_ConfigClockSource(&htim5, &sClockSourceConfig) != HAL_OK)

 {

 Error_Handler();

 }

 sMasterConfig.MasterOutputTrigger = TIM_TRGO_RESET;

 sMasterConfig.MasterSlaveMode = TIM_MASTERSLAVEMODE_DISABLE;

 if (HAL_TIMEx_MasterConfigSynchronization(&htim5, &sMasterConfig) != HAL_OK)

 {

 Error_Handler();

 }

}

static void MX_TIM14_Init(void)

{

 htim14.Instance = TIM14;

 htim14.Init.Prescaler = 83;

 htim14.Init.CounterMode = TIM_COUNTERMODE_UP;

 htim14.Init.Period = 60000-1;

 htim14.Init.ClockDivision = TIM_CLOCKDIVISION_DIV1;

 htim14.Init.AutoReloadPreload = TIM_AUTORELOAD_PRELOAD_ENABLE;

 if (HAL_TIM_Base_Init(&htim14) != HAL_OK)

 {

 Error_Handler();

 }

}

static void MX_DMA_Init(void)

{

 /* DMA controller clock enable */

 __HAL_RCC_DMA2_CLK_ENABLE();

 /* DMA interrupt init */

 /* DMA2_Stream0_IRQn interrupt configuration */

 HAL_NVIC_SetPriority(DMA2_Stream0_IRQn, 0, 0);

 HAL_NVIC_EnableIRQ(DMA2_Stream0_IRQn);

 /* DMA2_Stream3_IRQn interrupt configuration */

 HAL_NVIC_SetPriority(DMA2_Stream3_IRQn, 0, 0);

 HAL_NVIC_EnableIRQ(DMA2_Stream3_IRQn);

}

static void MX_GPIO_Init(void)

{

 GPIO_InitTypeDef GPIO_InitStruct = {0};

 /* GPIO Ports Clock Enable */

 __HAL_RCC_GPIOE_CLK_ENABLE();

 __HAL_RCC_GPIOC_CLK_ENABLE();

 __HAL_RCC_GPIOF_CLK_ENABLE();

 __HAL_RCC_GPIOH_CLK_ENABLE();

 __HAL_RCC_GPIOA_CLK_ENABLE();

 __HAL_RCC_GPIOB_CLK_ENABLE();

 __HAL_RCC_GPIOG_CLK_ENABLE();

 __HAL_RCC_GPIOD_CLK_ENABLE();

 /*Configure GPIO pin Output Level */

 HAL_GPIO_WritePin(GPIOF, GPIO_PIN_13|GPIO_PIN_14|GPIO_PIN_15, GPIO_PIN_SET);

 /*Configure GPIO pin Output Level */

 HAL_GPIO_WritePin(GPIOG, GPIO_PIN_0, GPIO_PIN_SET);

 /*Configure GPIO pin Output Level */

 HAL_GPIO_WritePin(B_TRIG_GPIO_Port, B_TRIG_Pin, GPIO_PIN_RESET);

 /*Configure GPIO pin Output Level */

 HAL_GPIO_WritePin(SPI1_CS_GPIO_Port, SPI1_CS_Pin, GPIO_PIN_SET);

 /*Configure GPIO pin Output Level */

 HAL_GPIO_WritePin(GPIOC, F_TRIG_Pin|L_TRIG_Pin|R_TRIG_Pin, GPIO_PIN_RESET);

 /*Configure GPIO pins : PE2 PE3 PE4 PE5

 PE6 PE7 PE8 PE10

 PE12 PE15 PE0 PE1 */

 GPIO_InitStruct.Pin = GPIO_PIN_2|GPIO_PIN_3|GPIO_PIN_4|GPIO_PIN_5

 |GPIO_PIN_6|GPIO_PIN_7|GPIO_PIN_8|GPIO_PIN_10

 |GPIO_PIN_12|GPIO_PIN_15|GPIO_PIN_0|GPIO_PIN_1;

 GPIO_InitStruct.Mode = GPIO_MODE_ANALOG;

 GPIO_InitStruct.Pull = GPIO_NOPULL;

 HAL_GPIO_Init(GPIOE, &GPIO_InitStruct);

 /*Configure GPIO pins : PC13 PC4 PC5 PC9

 PC10 PC11 PC12 */

 GPIO_InitStruct.Pin = GPIO_PIN_13|GPIO_PIN_4|GPIO_PIN_5|GPIO_PIN_9

 |GPIO_PIN_10|GPIO_PIN_11|GPIO_PIN_12;

 GPIO_InitStruct.Mode = GPIO_MODE_ANALOG;

 GPIO_InitStruct.Pull = GPIO_NOPULL;

 HAL_GPIO_Init(GPIOC, &GPIO_InitStruct);

 /*Configure GPIO pins : PF0 PF1 PF2 PF4

 PF5 PF6 PF7 PF8

 PF9 PF10 PF11 PF12 */

 GPIO_InitStruct.Pin = GPIO_PIN_0|GPIO_PIN_1|GPIO_PIN_2|GPIO_PIN_4

 |GPIO_PIN_5|GPIO_PIN_6|GPIO_PIN_7|GPIO_PIN_8

 |GPIO_PIN_9|GPIO_PIN_10|GPIO_PIN_11|GPIO_PIN_12;

 GPIO_InitStruct.Mode = GPIO_MODE_ANALOG;

 GPIO_InitStruct.Pull = GPIO_NOPULL;

 HAL_GPIO_Init(GPIOF, &GPIO_InitStruct);

 /*Configure GPIO pins : F_ECHO_Pin PA3 R_ECHO_Pin */

 GPIO_InitStruct.Pin = F_ECHO_Pin|GPIO_PIN_3|R_ECHO_Pin;

 GPIO_InitStruct.Mode = GPIO_MODE_IT_RISING_FALLING;

 GPIO_InitStruct.Pull = GPIO_NOPULL;

 HAL_GPIO_Init(GPIOA, &GPIO_InitStruct);

 /*Configure GPIO pins : PA2 PA4 PA7 PA8

 PA9 PA11 PA12 PA15 */

 GPIO_InitStruct.Pin = GPIO_PIN_2|GPIO_PIN_4|GPIO_PIN_7|GPIO_PIN_8

 |GPIO_PIN_9|GPIO_PIN_11|GPIO_PIN_12|GPIO_PIN_15;

 GPIO_InitStruct.Mode = GPIO_MODE_ANALOG;

 GPIO_InitStruct.Pull = GPIO_NOPULL;

 HAL_GPIO_Init(GPIOA, &GPIO_InitStruct);

 /*Configure GPIO pins : PB0 PB2 PB12 PB13

 PB14 PB15 PB4 PB6

 PB7 PB8 PB9 */

 GPIO_InitStruct.Pin = GPIO_PIN_0|GPIO_PIN_2|GPIO_PIN_12|GPIO_PIN_13

 |GPIO_PIN_14|GPIO_PIN_15|GPIO_PIN_4|GPIO_PIN_6

 |GPIO_PIN_7|GPIO_PIN_8|GPIO_PIN_9;

 GPIO_InitStruct.Mode = GPIO_MODE_ANALOG;

 GPIO_InitStruct.Pull = GPIO_NOPULL;

 HAL_GPIO_Init(GPIOB, &GPIO_InitStruct);

 /*Configure GPIO pin : B_ECHO_Pin */

 GPIO_InitStruct.Pin = B_ECHO_Pin;

 GPIO_InitStruct.Mode = GPIO_MODE_IT_RISING_FALLING;

 GPIO_InitStruct.Pull = GPIO_NOPULL;

 HAL_GPIO_Init(B_ECHO_GPIO_Port, &GPIO_InitStruct);

 /*Configure GPIO pins : PF13 PF14 PF15 */

 GPIO_InitStruct.Pin = GPIO_PIN_13|GPIO_PIN_14|GPIO_PIN_15;

 GPIO_InitStruct.Mode = GPIO_MODE_OUTPUT_PP;

 GPIO_InitStruct.Pull = GPIO_NOPULL;

 GPIO_InitStruct.Speed = GPIO_SPEED_FREQ_LOW;

 HAL_GPIO_Init(GPIOF, &GPIO_InitStruct);

 /*Configure GPIO pin : PG0 */

 GPIO_InitStruct.Pin = GPIO_PIN_0;

 GPIO_InitStruct.Mode = GPIO_MODE_OUTPUT_PP;

 GPIO_InitStruct.Pull = GPIO_NOPULL;

 GPIO_InitStruct.Speed = GPIO_SPEED_FREQ_LOW;

 HAL_GPIO_Init(GPIOG, &GPIO_InitStruct);

 /*Configure GPIO pin : B_TRIG_Pin */

 GPIO_InitStruct.Pin = B_TRIG_Pin;

 GPIO_InitStruct.Mode = GPIO_MODE_OUTPUT_PP;

 GPIO_InitStruct.Pull = GPIO_NOPULL;

 GPIO_InitStruct.Speed = GPIO_SPEED_FREQ_HIGH;

 HAL_GPIO_Init(B_TRIG_GPIO_Port, &GPIO_InitStruct);

 /*Configure GPIO pins : PD8 PD9 PD10 PD11

 PD12 PD13 PD15 PD0

 PD1 PD2 PD3 PD4

 PD5 PD6 PD7 */

 GPIO_InitStruct.Pin = GPIO_PIN_8|GPIO_PIN_9|GPIO_PIN_10|GPIO_PIN_11

 |GPIO_PIN_12|GPIO_PIN_13|GPIO_PIN_15|GPIO_PIN_0

 |GPIO_PIN_1|GPIO_PIN_2|GPIO_PIN_3|GPIO_PIN_4

 |GPIO_PIN_5|GPIO_PIN_6|GPIO_PIN_7;

 GPIO_InitStruct.Mode = GPIO_MODE_ANALOG;

 GPIO_InitStruct.Pull = GPIO_NOPULL;

 HAL_GPIO_Init(GPIOD, &GPIO_InitStruct);

 /*Configure GPIO pin : SPI1_CS_Pin */

 GPIO_InitStruct.Pin = SPI1_CS_Pin;

 GPIO_InitStruct.Mode = GPIO_MODE_OUTPUT_PP;

 GPIO_InitStruct.Pull = GPIO_NOPULL;

 GPIO_InitStruct.Speed = GPIO_SPEED_FREQ_HIGH;

 HAL_GPIO_Init(SPI1_CS_GPIO_Port, &GPIO_InitStruct);

 /*Configure GPIO pins : PG2 PG3 PG4 PG5

 PG6 PG7 PG8 PG10

 PG11 PG12 PG13 PG14

 PG15 */

 GPIO_InitStruct.Pin = GPIO_PIN_2|GPIO_PIN_3|GPIO_PIN_4|GPIO_PIN_5

 |GPIO_PIN_6|GPIO_PIN_7|GPIO_PIN_8|GPIO_PIN_10

 |GPIO_PIN_11|GPIO_PIN_12|GPIO_PIN_13|GPIO_PIN_14

 |GPIO_PIN_15;

 GPIO_InitStruct.Mode = GPIO_MODE_ANALOG;

 GPIO_InitStruct.Pull = GPIO_NOPULL;

 HAL_GPIO_Init(GPIOG, &GPIO_InitStruct);

 /*Configure GPIO pins : F_TRIG_Pin L_TRIG_Pin R_TRIG_Pin */

 GPIO_InitStruct.Pin = F_TRIG_Pin|L_TRIG_Pin|R_TRIG_Pin;

 GPIO_InitStruct.Mode = GPIO_MODE_OUTPUT_PP;

 GPIO_InitStruct.Pull = GPIO_NOPULL;

 GPIO_InitStruct.Speed = GPIO_SPEED_FREQ_HIGH;

 HAL_GPIO_Init(GPIOC, &GPIO_InitStruct);

 /*Configure GPIO pin : L_ECHO_Pin */

 GPIO_InitStruct.Pin = L_ECHO_Pin;

 GPIO_InitStruct.Mode = GPIO_MODE_IT_RISING_FALLING;

 GPIO_InitStruct.Pull = GPIO_NOPULL;

 HAL_GPIO_Init(L_ECHO_GPIO_Port, &GPIO_InitStruct);

 /* EXTI interrupt init*/

 HAL_NVIC_SetPriority(EXTI0_IRQn, 2, 0);

 HAL_NVIC_EnableIRQ(EXTI0_IRQn);

 HAL_NVIC_SetPriority(EXTI1_IRQn, 0, 0);

 HAL_NVIC_EnableIRQ(EXTI1_IRQn);

 HAL_NVIC_SetPriority(EXTI3_IRQn, 0, 0);

 HAL_NVIC_EnableIRQ(EXTI3_IRQn);

 HAL_NVIC_SetPriority(EXTI9_5_IRQn, 2, 0);

 HAL_NVIC_EnableIRQ(EXTI9_5_IRQn);

 HAL_NVIC_SetPriority(EXTI15_10_IRQn, 0, 0);

 HAL_NVIC_EnableIRQ(EXTI15_10_IRQn);

}

/* USER CODE BEGIN 4 */

#ifdef __cplusplus

extern "C" {

#endif

void HAL_SPI_TxRxCpltCallback(SPI_HandleTypeDef *hspi) {

 if (hspi->Instance == SPI1) {

 HAL_GPIO_WritePin(SPI1_CS_GPIO_Port, SPI1_CS_Pin, GPIO_PIN_SET);

 spi_in_progress = 0;

 memcpy(&rx_packet, spi_rx_raw_buffer, sizeof(CommandPacket));

 if (rx_packet.command == 'A') {

 system_state = 1; // arm

 } else if (rx_packet.command == 'E') {

 system_state = 0; // e-stop

 } else if (rx_packet.command == 'M') {

 current_robot_mode = rx_packet.mode;

 } else if (rx_packet.command == 'T') {

 tune_kp = rx_packet.kp;

 tune_ki = rx_packet.ki;

 tune_kd = rx_packet.kd;

 }

 }

}

void HAL_SPI_ErrorCallback(SPI_HandleTypeDef *hspi) {

 if (hspi->Instance == SPI1) {

 // drop CS high and release the lock so main can retry

 HAL_GPIO_WritePin(SPI1_CS_GPIO_Port, SPI1_CS_Pin, GPIO_PIN_SET);

 spi_in_progress = 0;

 }

}

void HAL_GPIO_EXTI_Callback(uint16_t GPIO_Pin)

{

 // front sensor

 if (GPIO_Pin == frontSensor.EchoPin){

 if (HAL_GPIO_ReadPin(frontSensor.EchoPort, frontSensor.EchoPin) == GPIO_PIN_SET){

 frontSensor.echo_start = __HAL_TIM_GET_COUNTER(frontSensor.timer);

 } else {

 frontSensor.echo_end = __HAL_TIM_GET_COUNTER(frontSensor.timer);

 uint32_t pulse = (frontSensor.echo_end >= frontSensor.echo_start) ?

 (frontSensor.echo_end - frontSensor.echo_start) :

 ((0xFFFFFFFF - frontSensor.echo_start) + frontSensor.echo_end);

 float raw_dist = (float)pulse / 58.0f;

 if (raw_dist < 400.0f && raw_dist > 2.0f) {

 frontSensor.history[frontSensor.history_idx] = raw_dist;

 frontSensor.history_idx = (frontSensor.history_idx + 1) % MEDIAN_WINDOW;

 frontSensor.distance = get_median(frontSensor.history, MEDIAN_WINDOW);

 }

 }

 }

 // back sensor

 if (GPIO_Pin == backSensor.EchoPin){

 if (HAL_GPIO_ReadPin(backSensor.EchoPort, backSensor.EchoPin) == GPIO_PIN_SET){

 backSensor.echo_start = __HAL_TIM_GET_COUNTER(backSensor.timer);

 } else {

 backSensor.echo_end = __HAL_TIM_GET_COUNTER(backSensor.timer);

 uint32_t pulse = (backSensor.echo_end >= backSensor.echo_start) ?

 (backSensor.echo_end - backSensor.echo_start) :

 ((0xFFFFFFFF - backSensor.echo_start) + backSensor.echo_end);

 float raw_dist = (float)pulse / 58.0f;

 if (raw_dist < 400.0f && raw_dist > 2.0f) {

 backSensor.history[backSensor.history_idx] = raw_dist;

 backSensor.history_idx = (backSensor.history_idx + 1) % MEDIAN_WINDOW;

 backSensor.distance = get_median(backSensor.history, MEDIAN_WINDOW);

 }

 }

 }

 // left sensor

 if (GPIO_Pin == leftSensor.EchoPin){

 if (HAL_GPIO_ReadPin(leftSensor.EchoPort, leftSensor.EchoPin) == GPIO_PIN_SET){

 leftSensor.echo_start = __HAL_TIM_GET_COUNTER(leftSensor.timer);

 } else {

 leftSensor.echo_end = __HAL_TIM_GET_COUNTER(leftSensor.timer);

 uint32_t pulse = (leftSensor.echo_end >= leftSensor.echo_start) ?

 (leftSensor.echo_end - leftSensor.echo_start) :

 ((0xFFFFFFFF - leftSensor.echo_start) + leftSensor.echo_end);

 float raw_dist = (float)pulse / 58.0f;

 if (raw_dist < 400.0f && raw_dist > 2.0f) {

 leftSensor.history[leftSensor.history_idx] = raw_dist;

 leftSensor.history_idx = (leftSensor.history_idx + 1) % MEDIAN_WINDOW;

 leftSensor.distance = get_median(leftSensor.history, MEDIAN_WINDOW);

 }

 }

 }

 // right sensor

 if (GPIO_Pin == rightSensor.EchoPin){

 if (HAL_GPIO_ReadPin(rightSensor.EchoPort, rightSensor.EchoPin) == GPIO_PIN_SET){

 rightSensor.echo_start = __HAL_TIM_GET_COUNTER(rightSensor.timer);

 } else {

 rightSensor.echo_end = __HAL_TIM_GET_COUNTER(rightSensor.timer);

 uint32_t pulse = (rightSensor.echo_end >= rightSensor.echo_start) ?

 (rightSensor.echo_end - rightSensor.echo_start) :

 ((0xFFFFFFFF - rightSensor.echo_start) + rightSensor.echo_end);

 float raw_dist = (float)pulse / 58.0f;

 if (raw_dist < 400.0f && raw_dist > 2.0f) {

 rightSensor.history[rightSensor.history_idx] = raw_dist;

 rightSensor.history_idx = (rightSensor.history_idx + 1) % MEDIAN_WINDOW;

 rightSensor.distance = get_median(rightSensor.history, MEDIAN_WINDOW);

 }

 }

 }

}

int _write(int file, uint8_t *ptr, int len)

{

 for (int i = 0; i < len; i++)

 {

 ITM_SendChar(*ptr++);

 }

 return len;

}

#ifdef __cplusplus

}

#endif

/* USER CODE END 4 */

 /* MPU Configuration */

void MPU_Config(void)

{

 MPU_Region_InitTypeDef MPU_InitStruct = {0};

 /* Disables the MPU */

 HAL_MPU_Disable();

 /** Initializes and configures the Region and the memory to be protected

 */

 MPU_InitStruct.Enable = MPU_REGION_ENABLE;

 MPU_InitStruct.Number = MPU_REGION_NUMBER0;

 MPU_InitStruct.BaseAddress = 0x0;

 MPU_InitStruct.Size = MPU_REGION_SIZE_4GB;

 MPU_InitStruct.SubRegionDisable = 0x87;

 MPU_InitStruct.TypeExtField = MPU_TEX_LEVEL0;

 MPU_InitStruct.AccessPermission = MPU_REGION_NO_ACCESS;

 MPU_InitStruct.DisableExec = MPU_INSTRUCTION_ACCESS_DISABLE;

 MPU_InitStruct.IsShareable = MPU_ACCESS_SHAREABLE;

 MPU_InitStruct.IsCacheable = MPU_ACCESS_NOT_CACHEABLE;

 MPU_InitStruct.IsBufferable = MPU_ACCESS_NOT_BUFFERABLE;

 HAL_MPU_ConfigRegion(&MPU_InitStruct);

 /* Enables the MPU */

 HAL_MPU_Enable(MPU_PRIVILEGED_DEFAULT);

}

void Error_Handler(void)

{

 __disable_irq();
 while (1)
 {
 }

}
